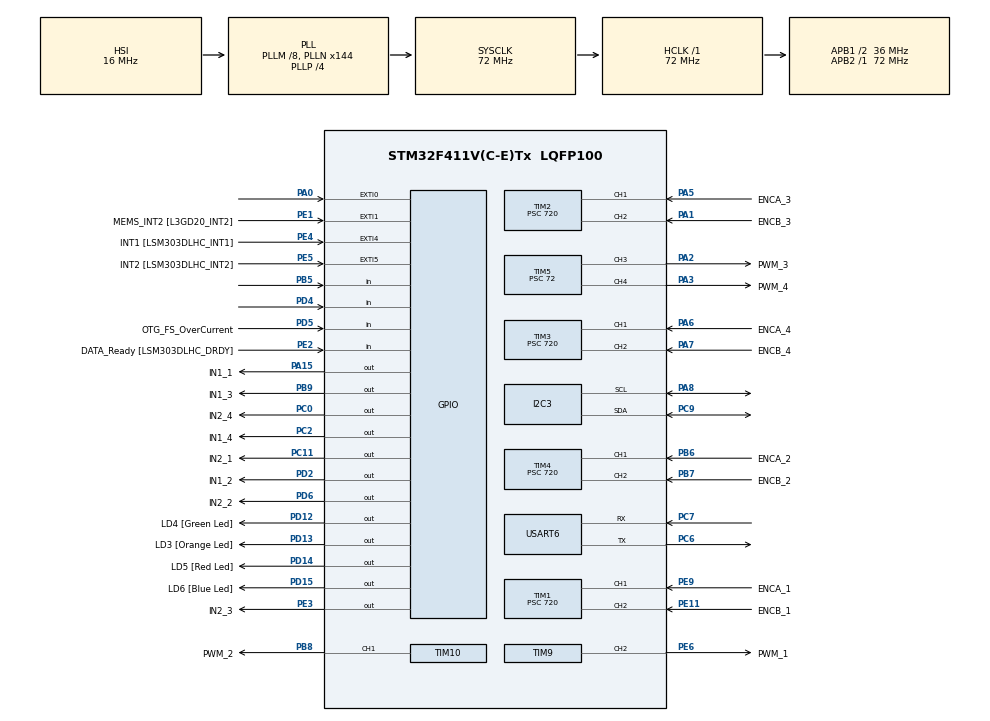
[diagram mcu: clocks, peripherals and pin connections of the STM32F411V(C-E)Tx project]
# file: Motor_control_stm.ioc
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Dma.Request0=USART6_RX
Dma.USART6_RX.0.Direction=DMA_PERIPH_TO_MEMORY
Dma.USART6_RX.0.FIFOMode=DMA_FIFOMODE_DISABLE
Dma.USART6_RX.0.Instance=DMA2_Stream1
Dma.USART6_RX.0.MemDataAlignment=DMA_MDATAALIGN_BYTE
Dma.USART6_RX.0.MemInc=DMA_MINC_ENABLE
Dma.USART6_RX.0.Mode=DMA_NORMAL
Dma.USART6_RX.0.PeriphDataAlignment=DMA_PDATAALIGN_BYTE
Dma.USART6_RX.0.PeriphInc=DMA_PINC_DISABLE
Dma.USART6_RX.0.Priority=DMA_PRIORITY_LOW
Mcu.Family=STM32F4
Mcu.Name=STM32F411V(C-E)Tx
Mcu.Package=LQFP100
NVIC.DMA2_Stream1_IRQn=true\:0\:0\:false\:false\:true\:false\:true\:true
NVIC.PriorityGroup=NVIC_PRIORITYGROUP_0
NVIC.TIM1_TRG_COM_TIM11_IRQn=true\:0\:0\:false\:false\:true\:true\:true\:true
NVIC.USART6_IRQn=true\:0\:0\:false\:false\:true\:true\:true\:true
PA0-WKUP.Signal=GPXTI0
PA1.GPIO_Label=ENCB_3
PA1.GPIO_PuPd=GPIO_NOPULL
PA1.Signal=S_TIM2_CH2
PA10.GPIO_Label=OTG_FS_ID
PA10.Signal=USB_OTG_FS_ID
PA11.GPIO_Label=OTG_FS_DM
PA11.Signal=USB_OTG_FS_DM
PA12.GPIO_Label=OTG_FS_DP
PA12.Signal=USB_OTG_FS_DP
PA13.GPIO_Label=SWDIO
PA13.Mode=Serial_Wire
PA13.Signal=SYS_JTMS-SWDIO
PA14.GPIO_Label=SWCLK
PA14.Mode=Serial_Wire
PA14.Signal=SYS_JTCK-SWCLK
PA15.GPIO_Label=IN1_1
PA15.PinState=GPIO_PIN_RESET
PA15.Signal=GPIO_Output
PA2.GPIO_Label=PWM_3
PA2.GPIO_Speed=GPIO_SPEED_FREQ_MEDIUM
PA2.Signal=S_TIM5_CH3
PA3.GPIO_Label=PWM_4
PA3.GPIO_Speed=GPIO_SPEED_FREQ_MEDIUM
PA3.Signal=S_TIM5_CH4
PA5.GPIO_Label=ENCA_3
PA5.GPIO_PuPd=GPIO_NOPULL
PA5.Signal=S_TIM2_CH1_ETR
PA6.GPIO_Label=ENCA_4
PA6.GPIO_PuPd=GPIO_NOPULL
PA6.Signal=S_TIM3_CH1
PA7.GPIO_Label=ENCB_4
PA7.GPIO_PuPd=GPIO_NOPULL
PA7.Signal=S_TIM3_CH2
PA8.Mode=I2C
PA8.Signal=I2C3_SCL
PA9.GPIO_Label=VBUS_FS
PA9.Signal=USB_OTG_FS_VBUS
PB3.GPIO_Label=SWO
PB3.Signal=SYS_JTDO-SWO
PB5.GPIO_PuPd=GPIO_PULLUP
PB5.Signal=GPIO_Input
PB6.GPIO_Label=ENCA_2
PB6.GPIO_PuPd=GPIO_NOPULL
PB6.Signal=S_TIM4_CH1
PB7.GPIO_Label=ENCB_2
PB7.GPIO_PuPd=GPIO_NOPULL
PB7.Signal=S_TIM4_CH2
PB8.GPIO_Label=PWM_2
PB8.GPIO_Speed=GPIO_SPEED_FREQ_MEDIUM
PB8.Signal=S_TIM10_CH1
PB9.GPIO_Label=IN1_3
PB9.Signal=GPIO_Output
PC0.GPIO_Label=IN2_4
PC0.Signal=GPIO_Output
PC11.GPIO_Label=IN2_1
PC11.Signal=GPIO_Output
PC14-OSC32_IN.GPIO_Label=PC14-OSC32_IN
PC14-OSC32_IN.Mode=LSE-External-Oscillator
PC14-OSC32_IN.Signal=RCC_OSC32_IN
PC15-OSC32_OUT.GPIO_Label=PC15-OSC32_OUT
PC15-OSC32_OUT.Mode=LSE-External-Oscillator
PC15-OSC32_OUT.Signal=RCC_OSC32_OUT
PC2.GPIO_Label=IN1_4
PC2.Signal=GPIO_Output
PC6.Mode=Asynchronous
PC6.Signal=USART6_TX
PC7.Mode=Asynchronous
PC7.Signal=USART6_RX
PC9.Mode=I2C
PC9.Signal=I2C3_SDA
PD12.GPIO_Label=LD4 [Green Led]
PD12.GPIO_PuPd=GPIO_NOPULL
PD12.GPIO_Speed=GPIO_SPEED_FREQ_LOW
PD12.Signal=GPIO_Output
PD13.GPIO_Label=LD3 [Orange Led]
PD13.GPIO_PuPd=GPIO_NOPULL
PD13.GPIO_Speed=GPIO_SPEED_FREQ_LOW
PD13.Signal=GPIO_Output
PD14.GPIO_Label=LD5 [Red Led]
PD14.GPIO_PuPd=GPIO_NOPULL
PD14.GPIO_Speed=GPIO_SPEED_FREQ_LOW
PD14.Signal=GPIO_Output
PD15.GPIO_Label=LD6 [Blue Led]
PD15.GPIO_PuPd=GPIO_NOPULL
PD15.GPIO_Speed=GPIO_SPEED_FREQ_LOW
PD15.Signal=GPIO_Output
PD2.GPIO_Label=IN1_2
PD2.Signal=GPIO_Output
PD4.GPIO_PuPd=GPIO_PULLUP
PD4.Signal=GPIO_Input
PD5.GPIO_Label=OTG_FS_OverCurrent
PD5.Signal=GPIO_Input
PD6.GPIO_Label=IN2_2
PD6.Signal=GPIO_Output
PE1.GPIO_Label=MEMS_INT2 [L3GD20_INT2]
PE1.GPIO_ModeDefaultEXTI=GPIO_MODE_EVT_RISING
PE1.Signal=GPXTI1
PE11.GPIO_Label=ENCB_1
PE11.GPIO_PuPd=GPIO_NOPULL
PE11.Signal=S_TIM1_CH2
PE2.GPIO_Label=DATA_Ready [LSM303DLHC_DRDY]
PE2.Signal=GPIO_Input
PE3.GPIO_Label=IN2_3
PE3.Signal=GPIO_Output
PE4.GPIO_Label=INT1 [LSM303DLHC_INT1]
PE4.GPIO_ModeDefaultEXTI=GPIO_MODE_EVT_RISING
PE4.Signal=GPXTI4
PE5.GPIO_Label=INT2 [LSM303DLHC_INT2]
PE5.GPIO_ModeDefaultEXTI=GPIO_MODE_EVT_RISING
PE5.Signal=GPXTI5
PE6.GPIO_Label=PWM_1
PE6.GPIO_Speed=GPIO_SPEED_FREQ_MEDIUM
PE6.Signal=S_TIM9_CH2
PE9.GPIO_Label=ENCA_1
PE9.GPIO_PuPd=GPIO_NOPULL
PE9.Signal=S_TIM1_CH1
PH0\ -\ OSC_IN.GPIO_Label=PH0-OSC_IN
PH0\ -\ OSC_IN.Mode=HSE-External-Oscillator
PH0\ -\ OSC_IN.Signal=RCC_OSC_IN
PH1\ -\ OSC_OUT.GPIO_Label=PH1-OSC_OUT
PH1\ -\ OSC_OUT.Mode=HSE-External-Oscillator
PH1\ -\ OSC_OUT.Signal=RCC_OSC_OUT
ProjectManager.HeapSize=0x200
ProjectManager.StackSize=0x400
ProjectManager.TargetToolchain=STM32CubeIDE
RCC.48MHZClocksFreq_Value=48000000
RCC.AHBFreq_Value=72000000
RCC.APB1CLKDivider=RCC_HCLK_DIV2
RCC.APB1Freq_Value=36000000
RCC.APB1TimFreq_Value=72000000
RCC.APB2Freq_Value=72000000
RCC.APB2TimFreq_Value=72000000
RCC.CortexFreq_Value=72000000
RCC.HCLKFreq_Value=72000000
RCC.HSE_VALUE=8000000
RCC.HSI_VALUE=16000000
RCC.PLLI2SM=8
RCC.PLLI2SN=200
RCC.PLLI2SR=4
RCC.PLLM=8
RCC.PLLN=144
RCC.PLLP=RCC_PLLP_DIV4
RCC.PLLQ=6
RCC.SYSCLKFreq_VALUE=72000000
RCC.SYSCLKSource=RCC_SYSCLKSOURCE_PLLCLK
RCC.VCOOutputFreq_Value=288000000
SH.S_TIM10_CH1.0=TIM10_CH1,PWM Generation1 CH1
SH.S_TIM1_CH1.0=TIM1_CH1,Encoder_Interface
SH.S_TIM1_CH2.0=TIM1_CH2,Encoder_Interface
SH.S_TIM2_CH1_ETR.0=TIM2_CH1,Encoder_Interface
SH.S_TIM2_CH2.0=TIM2_CH2,Encoder_Interface
SH.S_TIM3_CH1.0=TIM3_CH1,Encoder_Interface
SH.S_TIM3_CH2.0=TIM3_CH2,Encoder_Interface
SH.S_TIM4_CH1.0=TIM4_CH1,Encoder_Interface
SH.S_TIM4_CH2.0=TIM4_CH2,Encoder_Interface
SH.S_TIM5_CH3.0=TIM5_CH3,PWM Generation3 CH3
SH.S_TIM5_CH4.0=TIM5_CH4,PWM Generation4 CH4
SH.S_TIM9_CH2.0=TIM9_CH2,PWM Generation2 CH2
TIM1.AutoReloadPreload=TIM_AUTORELOAD_PRELOAD_ENABLE
TIM1.ClockDivision=TIM_CLOCKDIVISION_DIV1
TIM1.EncoderMode=TIM_ENCODERMODE_TI12
TIM1.IC1Polarity=TIM_ICPOLARITY_RISING
TIM1.IC1Prescaler=TIM_ICPSC_DIV1
TIM1.IC2Polarity=TIM_ICPOLARITY_RISING
TIM1.Period=65535
TIM1.Prescaler=720
TIM10.Channel=TIM_CHANNEL_1
TIM10.Period=1000
TIM10.Prescaler=72
TIM10.Pulse=0
TIM11.Period=99
TIM11.Prescaler=7200-1
TIM2.AutoReloadPreload=TIM_AUTORELOAD_PRELOAD_ENABLE
TIM2.EncoderMode=TIM_ENCODERMODE_TI12
TIM2.IC1Polarity=TIM_ICPOLARITY_FALLING
TIM2.Period=65535
TIM2.Prescaler=720
TIM3.AutoReloadPreload=TIM_AUTORELOAD_PRELOAD_ENABLE
TIM3.EncoderMode=TIM_ENCODERMODE_TI12
TIM3.IC1Polarity=TIM_ICPOLARITY_RISING
TIM3.Period=65535
TIM3.Prescaler=720
TIM4.AutoReloadPreload=TIM_AUTORELOAD_PRELOAD_ENABLE
TIM4.EncoderMode=TIM_ENCODERMODE_TI12
TIM4.IC1Polarity=TIM_ICPOLARITY_RISING
TIM4.Period=65535
TIM4.Prescaler=720
TIM5.AutoReloadPreload=TIM_AUTORELOAD_PRELOAD_ENABLE
TIM5.Channel-PWM\ Generation3\ CH3=TIM_CHANNEL_3
TIM5.Channel-PWM\ Generation4\ CH4=TIM_CHANNEL_4
TIM5.Period=1000
TIM5.Prescaler=72
TIM5.Pulse-PWM\ Generation3\ CH3=0
TIM5.Pulse-PWM\ Generation4\ CH4=0
TIM9.Channel-PWM\ Generation2\ CH2=TIM_CHANNEL_2
TIM9.Period=1000
TIM9.Prescaler=72
TIM9.Pulse-PWM\ Generation2\ CH2=0
USART6.VirtualMode=VM_ASYNC
VP_TIM10_VS_ClockSourceINT.Mode=Enable_Timer
VP_TIM11_VS_ClockSourceINT.Mode=Enable_Timer
VP_TIM5_VS_ClockSourceINT.Mode=Internal
VP_TIM9_VS_ClockSourceINT.Mode=Internal
board=STM32F411E-DISCO

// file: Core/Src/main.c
/* USER CODE BEGIN Header */
/**
  ******************************************************************************
  * @file           : main.c
  * @brief          : Main program body
  ******************************************************************************
  * @attention
  *
  * Copyright (c) 2025 STMicroelectronics.
  * All rights reserved.
  *
  * This software is licensed under terms that can be found in the LICENSE file
  * in the root directory of this software component.
  * If no LICENSE file comes with this software, it is provided AS-IS.
  *
  ******************************************************************************
  */
/* USER CODE END Header */
#include "main.h"

/* USER CODE BEGIN Includes */
#include <math.h>
#include <stdlib.h>
#include <stdio.h>
#include <string.h>
/* USER CODE END Includes */

/* USER CODE BEGIN PTD */
typedef struct {
    float v;
    float yaw;
    float yaw_dot;
} DataPacket;

/* USER CODE END PTD */

/* USER CODE BEGIN PD */
#define PWM_DEADZONE 				100
#define PPR 	 					240        // Pulses per revolution
#define RPS_MAX						30
#define PWM_LIMIT					500
#define DT 		 					0.01f      // 10ms (chu kỳ gọi hàm đo)
#define BNO055_ADDRESS 				0x28 << 1  // Shifted 7-bit to 8-bit I2C address
#define BNO055_EULER_H_LSB 			0x1A
#define BNO055_GYRO_DATA_Z_LSB 		0x1E
#define RX_BUFFER_SIZE 				25
#define TX_BUFFER_SIZE 				25
// Kích thước robot (m)
#define L1 							0.11  	// Khoảng cách từ trục OpYp đến bánh xe
#define L2 							0.1 	// Khoảng cách từ trục OpXp đến bánh xe
#define r 							0.035   // Bán kính bánh xe
#define MAX_SPEED 					15
#define MANUAL_TIMEOUT 				3000  // 3s timeout
#define TRUE						1
#define FALSE						0
/* USER CODE END PD */

I2C_HandleTypeDef hi2c3;

TIM_HandleTypeDef htim1;
TIM_HandleTypeDef htim2;
TIM_HandleTypeDef htim3;
TIM_HandleTypeDef htim4;
TIM_HandleTypeDef htim5;
TIM_HandleTypeDef htim9;
TIM_HandleTypeDef htim10;
TIM_HandleTypeDef htim11;

UART_HandleTypeDef huart6;
DMA_HandleTypeDef hdma_usart6_rx;
DMA_HandleTypeDef hdma_usart6_tx;

/* USER CODE BEGIN PV */

// GPIO chân điều khiển chiều quay (IN1 & IN2)
GPIO_TypeDef* in1_port[4] = { GPIOC, GPIOD, GPIOE, GPIOC};
uint16_t in1_pin[4]       = { GPIO_PIN_11, GPIO_PIN_2, GPIO_PIN_3, GPIO_PIN_2};

GPIO_TypeDef* in2_port[4] = { GPIOA, GPIOD, GPIOB, GPIOC };
uint16_t in2_pin[4]       = { GPIO_PIN_15, GPIO_PIN_6, GPIO_PIN_9, GPIO_PIN_0};

TIM_HandleTypeDef* htim_pwm[4] = { &htim9, &htim5, &htim10, &htim5 };
uint32_t tim_channel[4]        = { TIM_CHANNEL_2, TIM_CHANNEL_3, TIM_CHANNEL_1, TIM_CHANNEL_4 };

//GPIO_TypeDef* in1_port[4] = { GPIOD, GPIOA, GPIOC, GPIOE };
//uint16_t in1_pin[4]       = { GPIO_PIN_6, GPIO_PIN_15, GPIO_PIN_2, GPIO_PIN_3 };
//
//GPIO_TypeDef* in2_port[4] = { GPIOD, GPIOC, GPIOC, GPIOB };
//uint16_t in2_pin[4]       = { GPIO_PIN_2, GPIO_PIN_11, GPIO_PIN_0, GPIO_PIN_9 };
//// PWM kênh và timer
//TIM_HandleTypeDef* htim_pwm[4] = { &htim5, &htim9, &htim10, &htim5 };
//uint32_t tim_channel[4]        = { TIM_CHANNEL_3, TIM_CHANNEL_2, TIM_CHANNEL_1, TIM_CHANNEL_4 };
UART_HandleTypeDef huart6;
/* NOTE: Swap M1 vs M2*/
volatile uint8_t encoder_flag =  FALSE;
volatile uint8_t imu_flag = FALSE;
char rx_data;                  		// ký tự nhận được tạm thời
char temp_line[100];
uint8_t rx_buffer[RX_BUFFER_SIZE];  // Vòng đệm DMA nhận
char tx_buffer[TX_BUFFER_SIZE];  // Buffer gửi
DataPacket tx_data;
uint8_t rx_index 		= 0;
volatile uint8_t uart_tx_ready 	= 1;
uint8_t temp_line_index = 0;
uint8_t manual_mode = 0;
uint32_t last_manual_time = 0;
int16_t encoder_current[4];
int16_t encoder_past[4];
int16_t delta_encoder[4];
int16_t speed_rpm[4];
float speed_rps[4];
int32_t pwm_value_before_abs[4];
float v1, v2, v3, v4;
float pwm_value[4];
static uint32_t t_prev = 0;
float yaw_deg 			= 0;
float yaw 				= 0;
float yaw_prev 			= 0;

float yaw_dot 			= 0;
float vx_global = 0, vy_global = 0, omega_global = 0;
float vx_local = 0, vy_local = 0, omega_local = 0;

float vx_control 		= 0;
float vy_control  		= 0;
float omega_control 	= 0;
float vx_control_global = 0;
float vy_control_global = 0;
float V 				= 0;
float v_send 			= 0;
float yaw_send 			= 0;
float theta_dot_send 	= 0;

float Setpoint[4];
float Setpoint_before_fix[4]; //////////////////////// Debug variable
float SpeedMeasured[4];
float PWM_Output[4];
float integral[4] = {0};
float prevError[4] = {0};
/* USER CODE END PV */

void SystemClock_Config(void);
static void MX_GPIO_Init(void);
static void MX_DMA_Init(void);
static void MX_TIM1_Init(void);
static void MX_TIM2_Init(void);
static void MX_TIM3_Init(void);
static void MX_TIM4_Init(void);
static void MX_I2C3_Init(void);
static void MX_USART6_UART_Init(void);
static void MX_TIM5_Init(void);
static void MX_TIM9_Init(void);
static void MX_TIM10_Init(void);
static void MX_TIM11_Init(void);
/* USER CODE BEGIN PFP */
void user_init(void);
void update_encoder_speed(void);
void read_IMU(void);
void parse_uart_line(char *line);
void move(float vx, float vy, float omega);
void driveMotor(int idx, float speed);
void update_yaw_dot(void);
/* USER CODE END PFP */

/* USER CODE BEGIN 0 */
/* Timer callback */
void HAL_TIM_PeriodElapsedCallback(TIM_HandleTypeDef *htim)
{
    if (htim->Instance == TIM11)          // kiểm tra đúng timer
    {
        // Đặt code cần chạy mỗi chu kỳ ở đây
    	encoder_flag = TRUE;
    	imu_flag = TRUE;
    	update_encoder_speed();
    	read_IMU();
    }
}

/* UART callback */
void HAL_UART_TxCpltCallback(UART_HandleTypeDef *huart)
{
    if (huart->Instance == USART6)
    {
        uart_tx_ready = 1;
    }
}

void HAL_UART_RxCpltCallback(UART_HandleTypeDef *huart)
{
    if (huart->Instance == USART6)
    {

    }
}

void user_init()
{
	HAL_TIM_PWM_Start(&htim5, TIM_CHANNEL_3); //M2
	HAL_TIM_PWM_Start(&htim5, TIM_CHANNEL_4); //M4 conflict encoder
	HAL_TIM_PWM_Start(&htim9, TIM_CHANNEL_2); //M1
	HAL_TIM_PWM_Start(&htim10, TIM_CHANNEL_1); //M3 conflict encoder

	HAL_TIM_Encoder_Start(&htim1, TIM_CHANNEL_ALL); //M1
	HAL_TIM_Encoder_Start(&htim2, TIM_CHANNEL_ALL); //M3 conflict
	HAL_TIM_Encoder_Start(&htim3, TIM_CHANNEL_ALL); //M4 conflict
	HAL_TIM_Encoder_Start(&htim4, TIM_CHANNEL_ALL); //M2

	__HAL_TIM_SET_COMPARE(&htim5, TIM_CHANNEL_3, 0);
	__HAL_TIM_SET_COMPARE(&htim5, TIM_CHANNEL_4, 0);
	__HAL_TIM_SET_COMPARE(&htim9, TIM_CHANNEL_2, 0);
	__HAL_TIM_SET_COMPARE(&htim10, TIM_CHANNEL_1, 0);
	HAL_UART_Receive_DMA(&huart6, rx_buffer, RX_BUFFER_SIZE);
	HAL_TIM_Base_Start_IT(&htim11);
	// Set chiều quay THUẬN CHIỀU KIM ĐỒNG HỒ:
	// M1: IN1_1 = 1, IN2_1 = 0
	HAL_GPIO_WritePin(GPIOA, GPIO_PIN_15, GPIO_PIN_SET);   // IN1_1
	HAL_GPIO_WritePin(GPIOC, GPIO_PIN_11, GPIO_PIN_RESET); // IN2_1

	// M2: IN1_2 = 1, IN2_2 = 0
	HAL_GPIO_WritePin(GPIOD, GPIO_PIN_2, GPIO_PIN_RESET);    // IN1_2
	HAL_GPIO_WritePin(GPIOD, GPIO_PIN_6, GPIO_PIN_SET);  // IN2_2

	// M3: IN1_3 = 1, IN2_3 = 0
	HAL_GPIO_WritePin(GPIOB, GPIO_PIN_9, GPIO_PIN_RESET);    // IN1_3
	HAL_GPIO_WritePin(GPIOE, GPIO_PIN_3, GPIO_PIN_SET);  // IN2_3

	// M4: IN1_4 = 1, IN2_4 = 0
	HAL_GPIO_WritePin(GPIOC, GPIO_PIN_0, GPIO_PIN_SET);    // IN1_4
	HAL_GPIO_WritePin(GPIOC, GPIO_PIN_2, GPIO_PIN_RESET);  // IN2_4

	 // Reset BNO055
	uint8_t reset_cmd = 0x20;
	HAL_I2C_Mem_Write(&hi2c3, BNO055_ADDRESS, 0x3F, 1, &reset_cmd, 1, HAL_MAX_DELAY);
	HAL_Delay(2000);  // Rất quan trọng!

	// Set to config mode
	uint8_t config_mode = 0x00;
	HAL_I2C_Mem_Write(&hi2c3, BNO055_ADDRESS, 0x3D, 1, &config_mode, 1, HAL_MAX_DELAY);
	HAL_Delay(250);

	// Set to NDOF mode
	uint8_t ndof_mode = 0x0C;
	HAL_I2C_Mem_Write(&hi2c3, BNO055_ADDRESS, 0x3D, 1, &ndof_mode, 1, HAL_MAX_DELAY);
	HAL_Delay(200);
}

static inline void world_to_body(float vx_w, float vy_w, float yaw,
                                 float *vx_b, float *vy_b)
{
    float c = cosf(yaw), s = sinf(yaw);
    *vx_b =  c*vx_w + s*vy_w;
    *vy_b = -s*vx_w + c*vy_w;
}

// body -> world
static inline void body_to_world(float vx_b, float vy_b, float yaw,
                                 float *vx_w, float *vy_w)
{
    float c = cosf(yaw), s = sinf(yaw);
    *vx_w = c*vx_b - s*vy_b;
    *vy_w = s*vx_b + c*vy_b;
}

void update_encoder_speed(void)
{
	for (int i = 0; i < 4; i++)
	{
		switch (i)
		{
			case 0:
				encoder_current[i] = __HAL_TIM_GET_COUNTER(&htim1); //M2
				break;
			case 1:
				encoder_current[i] = __HAL_TIM_GET_COUNTER(&htim4); //M1
				break;
			case 2:
				encoder_current[i] = __HAL_TIM_GET_COUNTER(&htim2); //M4 conflict
				break;
			case 3:
				encoder_current[i] = __HAL_TIM_GET_COUNTER(&htim3); //M3 conflict
				break;
			default:
				break;
		}

		delta_encoder[i] = encoder_current[i] - encoder_past[i];

	    // Nếu counter bị overflow, xử lý wrap-around
	    if (delta_encoder[i] > 32767)
		{
	    	delta_encoder[i] -= 65536;
		}

	    if (delta_encoder[i] < -32768)
		{
	    	delta_encoder[i] += 65536;
		}

	    encoder_past[i] = encoder_current[i];

	    speed_rps[i] = (float) delta_encoder[i] / PPR / DT;
	    if (i != 0)
	    {
	    	speed_rps[i] = -speed_rps[i];
	    }

//	    speed_rpm[i] = speed_rps * 60.0f;
	}

    vx_control = (speed_rps[0] + speed_rps[1] + speed_rps[2] + speed_rps[3]) * r / 4.0;
    vy_control = (-speed_rps[0] + speed_rps[1] + speed_rps[2] - speed_rps[3]) * r / 4.0;
    body_to_world(vx_control, vy_control, yaw_deg, &vx_control_global, &vy_control_global);
    // theta_dot =  (-SpeedMeasured[0] + SpeedMeasured[1] - SpeedMeasured[2] + SpeedMeasured[3]) * r / (4.0 * (L1 + L2));
    // toán vận tốc tổng hợp của xe (vận tốc theo hướng tổng hợp)
    v_send = sqrt(vx_control_global * vx_control_global + vy_control_global * vy_control_global);
}

void read_IMU(void)
{
    uint8_t buffer[2];

    // ==== Read Yaw (Euler Heading) ====
    HAL_I2C_Mem_Read(&hi2c3, BNO055_ADDRESS, BNO055_EULER_H_LSB, 1, buffer, 2, HAL_MAX_DELAY);
    int16_t yaw_raw = (int16_t)((buffer[1] << 8) | buffer[0]);
    yaw_deg = ((float)yaw_raw) / 16.0f;  // 1° = 16 LSB
    /* Yaw calib */
    yaw_deg += 90;
    if (yaw_deg > 180)
        yaw_deg -= 360;
    yaw_deg += 180;
    yaw = yaw_deg * (M_PI / 180.0f);  // rad

//    // ==== Read Gyro Z (yaw rate) ====
//    HAL_I2C_Mem_Read(&hi2c3, BNO055_ADDRESS, BNO055_GYRO_DATA_Z_LSB, 1, buffer, 2, HAL_MAX_DELAY);
//    int16_t gyro_z_raw = (int16_t)((buffer[1] << 8) | buffer[0]);
//    theta_dot = ((float)gyro_z_raw) / 16.0f;  // deg/s
//    theta_dot *= (M_PI / 180.0f);  // rad/s
    update_yaw_dot();
}

void update_yaw_dot(void)
{
    uint32_t t_now = HAL_GetTick(); // ms
    float dt = (t_now - t_prev) / 1000.0f; // s

    float dyaw = yaw - yaw_prev;

    // xử lý wrap-around (-pi ↔ pi)
    if (dyaw > M_PI) dyaw -= 2*M_PI;
    else if (dyaw < -M_PI) dyaw += 2*M_PI;

    yaw_dot = dyaw / dt;

    yaw_prev = yaw;
    t_prev = t_now;
}

void check_uart_command(void)
{
    static uint16_t old_pos = 0;
    uint16_t new_pos = RX_BUFFER_SIZE - __HAL_DMA_GET_COUNTER(huart6.hdmarx);  // vị trí mới

    if (new_pos != old_pos)
    {
        while (old_pos != new_pos)
        {
            char c = rx_buffer[old_pos++];

            // Xử lý ký tự c (dùng buffer đệm riêng)
            if (c == '\n')
            {
                // Kết thúc chuỗi, parse
                parse_uart_line(temp_line);
                temp_line_index = 0;
                memset(temp_line, 0, sizeof(temp_line));
            }
            else if (temp_line_index < sizeof(temp_line) - 1)
            {
                temp_line[temp_line_index++] = c;
            }

            if (old_pos >= RX_BUFFER_SIZE)
                old_pos = 0;
        }
    }
}

void parse_uart_line(char *line)
{
	vx_local     = 0;
	vy_local     = 0;
	omega_local  = 0;
	vx_global    = 0;
	vy_global    = 0;
	omega_global = 0;

    char *vxStr = strtok(line, " ");
    char *vyStr = strtok(NULL, " ");
    char *omegaStr = strtok(NULL, " ");

    if (vxStr && vyStr && omegaStr)
    {
//        vx_global = atof(vxStr);
//        vy_global = atof(vyStr);
//        omega_global = atof(omegaStr);
    	vx_local = atof(vxStr);
    	vy_local = atof(vyStr);
    	omega_local = atof(omegaStr);

//        world_to_body(vx_global, vy_global, M_PI/2, &vx_local, &vy_local);
//        omega_local = omega_global;
//        move(vx, vy, omega);

        move(vx_local, vy_local, omega_local);
    }

    manual_mode = 1;
    last_manual_time = HAL_GetTick();
}

void move(float vx, float vy, float omega)
{
    v1 = (vx - vy - (L1 + L2) * omega) / r;
    v2 = (vx + vy + (L1 + L2) * omega) / r;
    v3 = (vx + vy - (L1 + L2) * omega) / r;
    v4 = (vx - vy + (L1 + L2) * omega) / r;

    float max_speed = fmaxf(fmaxf(fabsf(v1), fabsf(v2)), fmaxf(fabsf(v3), fabsf(v4)));
    if (max_speed > MAX_SPEED)
    {
    	v1 = v1 * MAX_SPEED / max_speed;
        v2 = v2 * MAX_SPEED / max_speed;
        v3 = v3 * MAX_SPEED / max_speed;
        v4 = v4 * MAX_SPEED / max_speed;
    }

    driveMotor(0, v1);  // Normalized từ -1.0 đến 1.0
    driveMotor(1, v2);
    driveMotor(2, v3);
    driveMotor(3, v4);
}

void driveMotor(int idx, float speed)
{
    if (idx < 0 || idx >= 4) return;

    uint8_t forward = (speed >= 0);

    float abs_speed = fabsf(speed);

    pwm_value[idx] = (uint32_t) (abs_speed * 100 / 3) * 1.2;
    if (pwm_value[idx] > PWM_LIMIT)
    {
    	pwm_value[idx] = PWM_LIMIT;
    }
    // Điều khiển chiều
    HAL_GPIO_WritePin(in1_port[idx], in1_pin[idx], forward ? GPIO_PIN_SET : GPIO_PIN_RESET);
    HAL_GPIO_WritePin(in2_port[idx], in2_pin[idx], forward ? GPIO_PIN_RESET : GPIO_PIN_SET);

    // Xuất PWM
    __HAL_TIM_SET_COMPARE(htim_pwm[idx], tim_channel[idx], pwm_value[idx]);
}
/* USER CODE END 0 */

int main(void)
{

	/* MCU Configuration--------------------------------------------------------*/

	/* Reset of all peripherals, Initializes the Flash interface and the Systick. */

	HAL_Init();

	/* Configure the system clock */
	SystemClock_Config();

	/* Initialize all configured peripherals */
	MX_GPIO_Init();
	MX_DMA_Init();
	MX_TIM1_Init();
	MX_TIM2_Init();
	MX_TIM3_Init();
	MX_TIM4_Init();
	MX_I2C3_Init();
	MX_USART6_UART_Init();
	MX_TIM5_Init();
	MX_TIM9_Init();
	MX_TIM10_Init();
	MX_TIM11_Init();
	/* USER CODE BEGIN 2 */
	user_init();
	/* USER CODE END 2 */

	/* Infinite loop */
	while (1)
	{

		/* USER CODE BEGIN 3 */
		if (TRUE == encoder_flag)
		{
//			update_encoder_speed();
			encoder_flag = FALSE;
		}
		if (TRUE == imu_flag)
		{
//			read_IMU();
			imu_flag = FALSE;
		}

		check_uart_command();

		if ((manual_mode) && (HAL_GetTick() - last_manual_time > MANUAL_TIMEOUT))
		{
			manual_mode = 0;
			move(0, 0, 0);  // Dừng robot nếu timeout
		}

//		tx_data.v = v_send;
//		tx_data.yaw = yaw;
//		tx_data.yaw_dot = yaw_dot;
		snprintf(tx_buffer, sizeof(tx_buffer), "%.3f %.3f %.3f\n", v_send, yaw, yaw_dot);
		if (huart6.gState == HAL_UART_STATE_READY)
		{
			HAL_UART_Transmit(&huart6, (uint8_t *)tx_buffer, strlen(tx_buffer), 3000);
//			HAL_UART_Transmit(&huart6, (uint8_t*)&tx_data, sizeof(tx_data), 3000);
		}

////		//Forward
//		driveMotor(0, 500);
//		driveMotor(1, 500);
//		driveMotor(2, 500);
//		driveMotor(3, 500);
//		HAL_Delay(3000);
////
//		// Stop
//		for (int i = 0; i < 4; i++)
//		{
//			driveMotor(i, 0);
//		}
//		HAL_Delay(3000);
//
//		// Backward
//		driveMotor(0, 200);
//		driveMotor(1, -200);
//		driveMotor(2, 200);
//		driveMotor(3, -200);
//		HAL_Delay(3000);
//
//		// Stop
//		for (int i = 0; i < 4; i++)
//		{
//			driveMotor(i, 0);
//		}
//		HAL_Delay(3000);
//
//		// Left
//		driveMotor(0, 200);
//		driveMotor(1, 200);
//		driveMotor(2, -200);
//		driveMotor(3, -200);
//		HAL_Delay(3000);
//
//		// Stop
//		for (int i = 0; i < 4; i++)
//		{
//			driveMotor(i, 0);
//		}
//		HAL_Delay(3000);
//
//		// Right
//		driveMotor(0, -200);
//		driveMotor(1, -200);
//		driveMotor(2, 200);
//		driveMotor(3, 200);
//		HAL_Delay(3000);
//
//		// Stop
//		for (int i = 0; i < 4; i++)
//		{
//			driveMotor(i, 0);
//		}
//		HAL_Delay(3000);

//		move(0.2, 0, 0);
//		HAL_Delay(3000);
//
//		move(0, 0, 0);
//		HAL_Delay(3000);
//
//		move(-0.2, 0, 0);
//		HAL_Delay(3000);
//
//		move(0, 0, 0);
//		HAL_Delay(3000);
//
//		move(0, 0.2, 0);
//		HAL_Delay(3000);
//
//		move(0, 0, 0);
//		HAL_Delay(3000);
//
//		move(0, -0.2, 0);
//		HAL_Delay(3000);
//
//		move(0, 0, 0);
//		HAL_Delay(3000);
//
//		move(0, 0, 0.8);
//		HAL_Delay(3000);
//
//		move(0, 0, 0);
//		HAL_Delay(3000);
//
//		move(0, 0, -0.8);
//		HAL_Delay(3000);
//
//		move(0, 0, 0);
//		HAL_Delay(3000);
	}
	/* USER CODE END 3 */
}

void SystemClock_Config(void)
{
  RCC_OscInitTypeDef RCC_OscInitStruct = {0};
  RCC_ClkInitTypeDef RCC_ClkInitStruct = {0};

  /** Configure the main internal regulator output voltage
  */
  __HAL_RCC_PWR_CLK_ENABLE();
  __HAL_PWR_VOLTAGESCALING_CONFIG(PWR_REGULATOR_VOLTAGE_SCALE1);

  /** Initializes the RCC Oscillators according to the specified parameters
  * in the RCC_OscInitTypeDef structure.
  */
  RCC_OscInitStruct.OscillatorType = RCC_OSCILLATORTYPE_HSI;
  RCC_OscInitStruct.HSIState = RCC_HSI_ON;
  RCC_OscInitStruct.HSICalibrationValue = RCC_HSICALIBRATION_DEFAULT;
  RCC_OscInitStruct.PLL.PLLState = RCC_PLL_ON;
  RCC_OscInitStruct.PLL.PLLSource = RCC_PLLSOURCE_HSI;
  RCC_OscInitStruct.PLL.PLLM = 8;
  RCC_OscInitStruct.PLL.PLLN = 144;
  RCC_OscInitStruct.PLL.PLLP = RCC_PLLP_DIV4;
  RCC_OscInitStruct.PLL.PLLQ = 6;
  if (HAL_RCC_OscConfig(&RCC_OscInitStruct) != HAL_OK)
  {
    Error_Handler();
  }

  /** Initializes the CPU, AHB and APB buses clocks
  */
  RCC_ClkInitStruct.ClockType = RCC_CLOCKTYPE_HCLK|RCC_CLOCKTYPE_SYSCLK
                              |RCC_CLOCKTYPE_PCLK1|RCC_CLOCKTYPE_PCLK2;
  RCC_ClkInitStruct.SYSCLKSource = RCC_SYSCLKSOURCE_PLLCLK;
  RCC_ClkInitStruct.AHBCLKDivider = RCC_SYSCLK_DIV1;
  RCC_ClkInitStruct.APB1CLKDivider = RCC_HCLK_DIV2;
  RCC_ClkInitStruct.APB2CLKDivider = RCC_HCLK_DIV1;

  if (HAL_RCC_ClockConfig(&RCC_ClkInitStruct, FLASH_LATENCY_2) != HAL_OK)
  {
    Error_Handler();
  }
}

static void MX_I2C3_Init(void)
{

  hi2c3.Instance = I2C3;
  hi2c3.Init.ClockSpeed = 100000;
  hi2c3.Init.DutyCycle = I2C_DUTYCYCLE_2;
  hi2c3.Init.OwnAddress1 = 0;
  hi2c3.Init.AddressingMode = I2C_ADDRESSINGMODE_7BIT;
  hi2c3.Init.DualAddressMode = I2C_DUALADDRESS_DISABLE;
  hi2c3.Init.OwnAddress2 = 0;
  hi2c3.Init.GeneralCallMode = I2C_GENERALCALL_DISABLE;
  hi2c3.Init.NoStretchMode = I2C_NOSTRETCH_DISABLE;
  if (HAL_I2C_Init(&hi2c3) != HAL_OK)
  {
    Error_Handler();
  }

}

static void MX_TIM1_Init(void)
{

  TIM_Encoder_InitTypeDef sConfig = {0};
  TIM_MasterConfigTypeDef sMasterConfig = {0};

  htim1.Instance = TIM1;
  htim1.Init.Prescaler = 0;
  htim1.Init.CounterMode = TIM_COUNTERMODE_UP;
  htim1.Init.Period = 65535;
  htim1.Init.ClockDivision = TIM_CLOCKDIVISION_DIV1;
  htim1.Init.RepetitionCounter = 0;
  htim1.Init.AutoReloadPreload = TIM_AUTORELOAD_PRELOAD_ENABLE;
  sConfig.EncoderMode = TIM_ENCODERMODE_TI12;
  sConfig.IC1Polarity = TIM_ICPOLARITY_RISING;
  sConfig.IC1Selection = TIM_ICSELECTION_DIRECTTI;
  sConfig.IC1Prescaler = TIM_ICPSC_DIV1;
  sConfig.IC1Filter = 0;
  sConfig.IC2Polarity = TIM_ICPOLARITY_RISING;
  sConfig.IC2Selection = TIM_ICSELECTION_DIRECTTI;
  sConfig.IC2Prescaler = TIM_ICPSC_DIV1;
  sConfig.IC2Filter = 0;
  if (HAL_TIM_Encoder_Init(&htim1, &sConfig) != HAL_OK)
  {
    Error_Handler();
  }
  sMasterConfig.MasterOutputTrigger = TIM_TRGO_RESET;
  sMasterConfig.MasterSlaveMode = TIM_MASTERSLAVEMODE_DISABLE;
  if (HAL_TIMEx_MasterConfigSynchronization(&htim1, &sMasterConfig) != HAL_OK)
  {
    Error_Handler();
  }

}

static void MX_TIM2_Init(void)
{

  TIM_Encoder_InitTypeDef sConfig = {0};
  TIM_MasterConfigTypeDef sMasterConfig = {0};

  htim2.Instance = TIM2;
  htim2.Init.Prescaler = 0;
  htim2.Init.CounterMode = TIM_COUNTERMODE_UP;
  htim2.Init.Period = 65535;
  htim2.Init.ClockDivision = TIM_CLOCKDIVISION_DIV1;
  htim2.Init.AutoReloadPreload = TIM_AUTORELOAD_PRELOAD_ENABLE;
  sConfig.EncoderMode = TIM_ENCODERMODE_TI12;
  sConfig.IC1Polarity = TIM_ICPOLARITY_FALLING;
  sConfig.IC1Selection = TIM_ICSELECTION_DIRECTTI;
  sConfig.IC1Prescaler = TIM_ICPSC_DIV1;
  sConfig.IC1Filter = 0;
  sConfig.IC2Polarity = TIM_ICPOLARITY_RISING;
  sConfig.IC2Selection = TIM_ICSELECTION_DIRECTTI;
  sConfig.IC2Prescaler = TIM_ICPSC_DIV1;
  sConfig.IC2Filter = 0;
  if (HAL_TIM_Encoder_Init(&htim2, &sConfig) != HAL_OK)
  {
    Error_Handler();
  }
  sMasterConfig.MasterOutputTrigger = TIM_TRGO_RESET;
  sMasterConfig.MasterSlaveMode = TIM_MASTERSLAVEMODE_DISABLE;
  if (HAL_TIMEx_MasterConfigSynchronization(&htim2, &sMasterConfig) != HAL_OK)
  {
    Error_Handler();
  }

}

static void MX_TIM3_Init(void)
{

  TIM_Encoder_InitTypeDef sConfig = {0};
  TIM_MasterConfigTypeDef sMasterConfig = {0};

  htim3.Instance = TIM3;
  htim3.Init.Prescaler = 0;
  htim3.Init.CounterMode = TIM_COUNTERMODE_UP;
  htim3.Init.Period = 65535;
  htim3.Init.ClockDivision = TIM_CLOCKDIVISION_DIV1;
  htim3.Init.AutoReloadPreload = TIM_AUTORELOAD_PRELOAD_ENABLE;
  sConfig.EncoderMode = TIM_ENCODERMODE_TI12;
  sConfig.IC1Polarity = TIM_ICPOLARITY_RISING;
  sConfig.IC1Selection = TIM_ICSELECTION_DIRECTTI;
  sConfig.IC1Prescaler = TIM_ICPSC_DIV1;
  sConfig.IC1Filter = 0;
  sConfig.IC2Polarity = TIM_ICPOLARITY_RISING;
  sConfig.IC2Selection = TIM_ICSELECTION_DIRECTTI;
  sConfig.IC2Prescaler = TIM_ICPSC_DIV1;
  sConfig.IC2Filter = 0;
  if (HAL_TIM_Encoder_Init(&htim3, &sConfig) != HAL_OK)
  {
    Error_Handler();
  }
  sMasterConfig.MasterOutputTrigger = TIM_TRGO_RESET;
  sMasterConfig.MasterSlaveMode = TIM_MASTERSLAVEMODE_DISABLE;
  if (HAL_TIMEx_MasterConfigSynchronization(&htim3, &sMasterConfig) != HAL_OK)
  {
    Error_Handler();
  }

}

static void MX_TIM4_Init(void)
{

  TIM_Encoder_InitTypeDef sConfig = {0};
  TIM_MasterConfigTypeDef sMasterConfig = {0};

  htim4.Instance = TIM4;
  htim4.Init.Prescaler = 0;
  htim4.Init.CounterMode = TIM_COUNTERMODE_UP;
  htim4.Init.Period = 65535;
  htim4.Init.ClockDivision = TIM_CLOCKDIVISION_DIV1;
  htim4.Init.AutoReloadPreload = TIM_AUTORELOAD_PRELOAD_ENABLE;
  sConfig.EncoderMode = TIM_ENCODERMODE_TI12;
  sConfig.IC1Polarity = TIM_ICPOLARITY_RISING;
  sConfig.IC1Selection = TIM_ICSELECTION_DIRECTTI;
  sConfig.IC1Prescaler = TIM_ICPSC_DIV1;
  sConfig.IC1Filter = 0;
  sConfig.IC2Polarity = TIM_ICPOLARITY_RISING;
  sConfig.IC2Selection = TIM_ICSELECTION_DIRECTTI;
  sConfig.IC2Prescaler = TIM_ICPSC_DIV1;
  sConfig.IC2Filter = 0;
  if (HAL_TIM_Encoder_Init(&htim4, &sConfig) != HAL_OK)
  {
    Error_Handler();
  }
  sMasterConfig.MasterOutputTrigger = TIM_TRGO_RESET;
  sMasterConfig.MasterSlaveMode = TIM_MASTERSLAVEMODE_DISABLE;
  if (HAL_TIMEx_MasterConfigSynchronization(&htim4, &sMasterConfig) != HAL_OK)
  {
    Error_Handler();
  }

}

static void MX_TIM5_Init(void)
{

  TIM_ClockConfigTypeDef sClockSourceConfig = {0};
  TIM_MasterConfigTypeDef sMasterConfig = {0};
  TIM_OC_InitTypeDef sConfigOC = {0};

  htim5.Instance = TIM5;
  htim5.Init.Prescaler = 72;
  htim5.Init.CounterMode = TIM_COUNTERMODE_UP;
  htim5.Init.Period = 1000;
  htim5.Init.ClockDivision = TIM_CLOCKDIVISION_DIV1;
  htim5.Init.AutoReloadPreload = TIM_AUTORELOAD_PRELOAD_DISABLE;
  if (HAL_TIM_Base_Init(&htim5) != HAL_OK)
  {
    Error_Handler();
  }
  sClockSourceConfig.ClockSource = TIM_CLOCKSOURCE_INTERNAL;
  if (HAL_TIM_ConfigClockSource(&htim5, &sClockSourceConfig) != HAL_OK)
  {
    Error_Handler();
  }
  if (HAL_TIM_PWM_Init(&htim5) != HAL_OK)
  {
    Error_Handler();
  }
  sMasterConfig.MasterOutputTrigger = TIM_TRGO_RESET;
  sMasterConfig.MasterSlaveMode = TIM_MASTERSLAVEMODE_DISABLE;
  if (HAL_TIMEx_MasterConfigSynchronization(&htim5, &sMasterConfig) != HAL_OK)
  {
    Error_Handler();
  }
  sConfigOC.OCMode = TIM_OCMODE_PWM1;
  sConfigOC.Pulse = 500;
  sConfigOC.OCPolarity = TIM_OCPOLARITY_HIGH;
  sConfigOC.OCFastMode = TIM_OCFAST_DISABLE;
  if (HAL_TIM_PWM_ConfigChannel(&htim5, &sConfigOC, TIM_CHANNEL_3) != HAL_OK)
  {
    Error_Handler();
  }
  if (HAL_TIM_PWM_ConfigChannel(&htim5, &sConfigOC, TIM_CHANNEL_4) != HAL_OK)
  {
    Error_Handler();
  }
  HAL_TIM_MspPostInit(&htim5);

}

static void MX_TIM9_Init(void)
{

  TIM_ClockConfigTypeDef sClockSourceConfig = {0};
  TIM_OC_InitTypeDef sConfigOC = {0};

  htim9.Instance = TIM9;
  htim9.Init.Prescaler = 72;
  htim9.Init.CounterMode = TIM_COUNTERMODE_UP;
  htim9.Init.Period = 1000;
  htim9.Init.ClockDivision = TIM_CLOCKDIVISION_DIV1;
  htim9.Init.AutoReloadPreload = TIM_AUTORELOAD_PRELOAD_DISABLE;
  if (HAL_TIM_Base_Init(&htim9) != HAL_OK)
  {
    Error_Handler();
  }
  sClockSourceConfig.ClockSource = TIM_CLOCKSOURCE_INTERNAL;
  if (HAL_TIM_ConfigClockSource(&htim9, &sClockSourceConfig) != HAL_OK)
  {
    Error_Handler();
  }
  if (HAL_TIM_PWM_Init(&htim9) != HAL_OK)
  {
    Error_Handler();
  }
  sConfigOC.OCMode = TIM_OCMODE_PWM1;
  sConfigOC.Pulse = 500;
  sConfigOC.OCPolarity = TIM_OCPOLARITY_HIGH;
  sConfigOC.OCFastMode = TIM_OCFAST_DISABLE;
  if (HAL_TIM_PWM_ConfigChannel(&htim9, &sConfigOC, TIM_CHANNEL_2) != HAL_OK)
  {
    Error_Handler();
  }
  HAL_TIM_MspPostInit(&htim9);

}

static void MX_TIM10_Init(void)
{

  TIM_OC_InitTypeDef sConfigOC = {0};

  htim10.Instance = TIM10;
  htim10.Init.Prescaler = 72;
  htim10.Init.CounterMode = TIM_COUNTERMODE_UP;
  htim10.Init.Period = 1000;
  htim10.Init.ClockDivision = TIM_CLOCKDIVISION_DIV1;
  htim10.Init.AutoReloadPreload = TIM_AUTORELOAD_PRELOAD_DISABLE;
  if (HAL_TIM_Base_Init(&htim10) != HAL_OK)
  {
    Error_Handler();
  }
  if (HAL_TIM_PWM_Init(&htim10) != HAL_OK)
  {
    Error_Handler();
  }
  sConfigOC.OCMode = TIM_OCMODE_PWM1;
  sConfigOC.Pulse = 500;
  sConfigOC.OCPolarity = TIM_OCPOLARITY_HIGH;
  sConfigOC.OCFastMode = TIM_OCFAST_DISABLE;
  if (HAL_TIM_PWM_ConfigChannel(&htim10, &sConfigOC, TIM_CHANNEL_1) != HAL_OK)
  {
    Error_Handler();
  }
  HAL_TIM_MspPostInit(&htim10);

}

static void MX_TIM11_Init(void)
{

  htim11.Instance = TIM11;
  htim11.Init.Prescaler = 7200-1;
  htim11.Init.CounterMode = TIM_COUNTERMODE_UP;
  htim11.Init.Period = 99;
  htim11.Init.ClockDivision = TIM_CLOCKDIVISION_DIV1;
  htim11.Init.AutoReloadPreload = TIM_AUTORELOAD_PRELOAD_DISABLE;
  if (HAL_TIM_Base_Init(&htim11) != HAL_OK)
  {
    Error_Handler();
  }

}

static void MX_USART6_UART_Init(void)
{

  huart6.Instance = USART6;
  huart6.Init.BaudRate = 115200;
  huart6.Init.WordLength = UART_WORDLENGTH_8B;
  huart6.Init.StopBits = UART_STOPBITS_1;
  huart6.Init.Parity = UART_PARITY_NONE;
  huart6.Init.Mode = UART_MODE_TX_RX;
  huart6.Init.HwFlowCtl = UART_HWCONTROL_NONE;
  huart6.Init.OverSampling = UART_OVERSAMPLING_16;
  if (HAL_UART_Init(&huart6) != HAL_OK)
  {
    Error_Handler();
  }

}

static void MX_DMA_Init(void)
{

  /* DMA controller clock enable */
  __HAL_RCC_DMA2_CLK_ENABLE();

  /* DMA interrupt init */
  /* DMA2_Stream1_IRQn interrupt configuration */
  HAL_NVIC_SetPriority(DMA2_Stream1_IRQn, 0, 0);
  HAL_NVIC_EnableIRQ(DMA2_Stream1_IRQn);
  /* DMA2_Stream6_IRQn interrupt configuration */
  HAL_NVIC_SetPriority(DMA2_Stream6_IRQn, 0, 0);
  HAL_NVIC_EnableIRQ(DMA2_Stream6_IRQn);

}

static void MX_GPIO_Init(void)
{
  GPIO_InitTypeDef GPIO_InitStruct = {0};

  /* GPIO Ports Clock Enable */
  __HAL_RCC_GPIOE_CLK_ENABLE();
  __HAL_RCC_GPIOC_CLK_ENABLE();
  __HAL_RCC_GPIOH_CLK_ENABLE();
  __HAL_RCC_GPIOA_CLK_ENABLE();
  __HAL_RCC_GPIOD_CLK_ENABLE();
  __HAL_RCC_GPIOB_CLK_ENABLE();

  /*Configure GPIO pin Output Level */
  HAL_GPIO_WritePin(IN2_3_GPIO_Port, IN2_3_Pin, GPIO_PIN_RESET);

  /*Configure GPIO pin Output Level */
  HAL_GPIO_WritePin(GPIOC, IN2_4_Pin|IN1_4_Pin|IN2_1_Pin, GPIO_PIN_RESET);

  /*Configure GPIO pin Output Level */
  HAL_GPIO_WritePin(GPIOD, LD4_Pin|LD3_Pin|LD5_Pin|LD6_Pin
                          |IN1_2_Pin|IN2_2_Pin, GPIO_PIN_RESET);

  /*Configure GPIO pin Output Level */
  HAL_GPIO_WritePin(IN1_1_GPIO_Port, IN1_1_Pin, GPIO_PIN_RESET);

  /*Configure GPIO pin Output Level */
  HAL_GPIO_WritePin(IN1_3_GPIO_Port, IN1_3_Pin, GPIO_PIN_RESET);

  /*Configure GPIO pin : DATA_Ready_Pin */
  GPIO_InitStruct.Pin = DATA_Ready_Pin;
  GPIO_InitStruct.Mode = GPIO_MODE_INPUT;
  GPIO_InitStruct.Pull = GPIO_NOPULL;
  HAL_GPIO_Init(DATA_Ready_GPIO_Port, &GPIO_InitStruct);

  /*Configure GPIO pin : IN2_3_Pin */
  GPIO_InitStruct.Pin = IN2_3_Pin;
  GPIO_InitStruct.Mode = GPIO_MODE_OUTPUT_PP;
  GPIO_InitStruct.Pull = GPIO_NOPULL;
  GPIO_InitStruct.Speed = GPIO_SPEED_FREQ_LOW;
  HAL_GPIO_Init(IN2_3_GPIO_Port, &GPIO_InitStruct);

  /*Configure GPIO pins : INT1_Pin INT2_Pin MEMS_INT2_Pin */
  GPIO_InitStruct.Pin = INT1_Pin|INT2_Pin|MEMS_INT2_Pin;
  GPIO_InitStruct.Mode = GPIO_MODE_EVT_RISING;
  GPIO_InitStruct.Pull = GPIO_NOPULL;
  HAL_GPIO_Init(GPIOE, &GPIO_InitStruct);

  /*Configure GPIO pins : IN2_4_Pin IN1_4_Pin IN2_1_Pin */
  GPIO_InitStruct.Pin = IN2_4_Pin|IN1_4_Pin|IN2_1_Pin;
  GPIO_InitStruct.Mode = GPIO_MODE_OUTPUT_PP;
  GPIO_InitStruct.Pull = GPIO_NOPULL;
  GPIO_InitStruct.Speed = GPIO_SPEED_FREQ_LOW;
  HAL_GPIO_Init(GPIOC, &GPIO_InitStruct);

  /*Configure GPIO pin : PA0 */
  GPIO_InitStruct.Pin = GPIO_PIN_0;
  GPIO_InitStruct.Mode = GPIO_MODE_IT_RISING;
  GPIO_InitStruct.Pull = GPIO_NOPULL;
  HAL_GPIO_Init(GPIOA, &GPIO_InitStruct);

  /*Configure GPIO pins : LD4_Pin LD3_Pin LD5_Pin LD6_Pin
                           IN1_2_Pin IN2_2_Pin */
  GPIO_InitStruct.Pin = LD4_Pin|LD3_Pin|LD5_Pin|LD6_Pin
                          |IN1_2_Pin|IN2_2_Pin;
  GPIO_InitStruct.Mode = GPIO_MODE_OUTPUT_PP;
  GPIO_InitStruct.Pull = GPIO_NOPULL;
  GPIO_InitStruct.Speed = GPIO_SPEED_FREQ_LOW;
  HAL_GPIO_Init(GPIOD, &GPIO_InitStruct);

  /*Configure GPIO pin : VBUS_FS_Pin */
  GPIO_InitStruct.Pin = VBUS_FS_Pin;
  GPIO_InitStruct.Mode = GPIO_MODE_INPUT;
  GPIO_InitStruct.Pull = GPIO_NOPULL;
  HAL_GPIO_Init(VBUS_FS_GPIO_Port, &GPIO_InitStruct);

  /*Configure GPIO pins : OTG_FS_ID_Pin OTG_FS_DM_Pin OTG_FS_DP_Pin */
  GPIO_InitStruct.Pin = OTG_FS_ID_Pin|OTG_FS_DM_Pin|OTG_FS_DP_Pin;
  GPIO_InitStruct.Mode = GPIO_MODE_AF_PP;
  GPIO_InitStruct.Pull = GPIO_NOPULL;
  GPIO_InitStruct.Speed = GPIO_SPEED_FREQ_VERY_HIGH;
  GPIO_InitStruct.Alternate = GPIO_AF10_OTG_FS;
  HAL_GPIO_Init(GPIOA, &GPIO_InitStruct);

  /*Configure GPIO pin : IN1_1_Pin */
  GPIO_InitStruct.Pin = IN1_1_Pin;
  GPIO_InitStruct.Mode = GPIO_MODE_OUTPUT_PP;
  GPIO_InitStruct.Pull = GPIO_NOPULL;
  GPIO_InitStruct.Speed = GPIO_SPEED_FREQ_LOW;
  HAL_GPIO_Init(IN1_1_GPIO_Port, &GPIO_InitStruct);

  /*Configure GPIO pin : PD4 */
  GPIO_InitStruct.Pin = GPIO_PIN_4;
  GPIO_InitStruct.Mode = GPIO_MODE_INPUT;
  GPIO_InitStruct.Pull = GPIO_PULLUP;
  HAL_GPIO_Init(GPIOD, &GPIO_InitStruct);

  /*Configure GPIO pin : OTG_FS_OverCurrent_Pin */
  GPIO_InitStruct.Pin = OTG_FS_OverCurrent_Pin;
  GPIO_InitStruct.Mode = GPIO_MODE_INPUT;
  GPIO_InitStruct.Pull = GPIO_NOPULL;
  HAL_GPIO_Init(OTG_FS_OverCurrent_GPIO_Port, &GPIO_InitStruct);

  /*Configure GPIO pin : PB5 */
  GPIO_InitStruct.Pin = GPIO_PIN_5;
  GPIO_InitStruct.Mode = GPIO_MODE_INPUT;
  GPIO_InitStruct.Pull = GPIO_PULLUP;
  HAL_GPIO_Init(GPIOB, &GPIO_InitStruct);

  /*Configure GPIO pin : IN1_3_Pin */
  GPIO_InitStruct.Pin = IN1_3_Pin;
  GPIO_InitStruct.Mode = GPIO_MODE_OUTPUT_PP;
  GPIO_InitStruct.Pull = GPIO_NOPULL;
  GPIO_InitStruct.Speed = GPIO_SPEED_FREQ_LOW;
  HAL_GPIO_Init(IN1_3_GPIO_Port, &GPIO_InitStruct);

}

void Error_Handler(void)
{
  __disable_irq();
  while (1)
  {
  }
}
